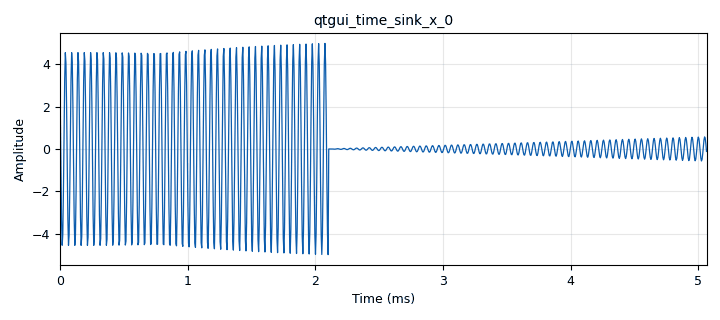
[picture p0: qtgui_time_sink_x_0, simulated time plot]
options:
  parameters:
    author: J1C_02
    copyright: UIS
    generate_options: qt_gui
    id: Multiplicacion
    output_language: python
    title: Multiplicacion
  states: {}

blocks:
- name: samp_rate
  id: variable
  parameters:
    value: '201990'
  states: {}
- name: Calculo_Potencia_Comunicaciones_0
  id: Calculo_Potencia_Comunicaciones
  parameters:
    I_vect: '1024'
  states: {}
- name: analog_sig_source_x_0
  id: analog_sig_source_x
  parameters:
    amp: '5'
    freq: '39'
    offset: '0'
    phase: '0'
    samp_rate: samp_rate
    type: float
    waveform: analog.GR_SAW_WAVE
  states: {}
- name: analog_sig_source_x_2
  id: analog_sig_source_x
  parameters:
    amp: '1'
    freq: '20160'
    offset: '0'
    phase: '0'
    samp_rate: samp_rate
    type: float
    waveform: analog.GR_COS_WAVE
  states: {}
- name: blocks_multiply_xx_0
  id: blocks_multiply_xx
  parameters:
    type: float
  states: {}
- name: blocks_throttle_0
  id: blocks_throttle
  parameters:
    samples_per_second: samp_rate
    type: float
  states: {}
- name: qtgui_time_sink_x_0
  id: qtgui_time_sink_x
  parameters:
    autoscale: 'True'
    grid: 'True'
    size: '1024'
    srate: samp_rate
    type: float
  states: {}

connections:
- [analog_sig_source_x_0, '0', blocks_multiply_xx_0, '0']
- [analog_sig_source_x_2, '0', blocks_multiply_xx_0, '1']
- [blocks_multiply_xx_0, '0', blocks_throttle_0, '0']
- [blocks_throttle_0, '0', Calculo_Potencia_Comunicaciones_0, '0']
- [blocks_throttle_0, '0', qtgui_time_sink_x_0, '0']

metadata:
  file_format: 1
